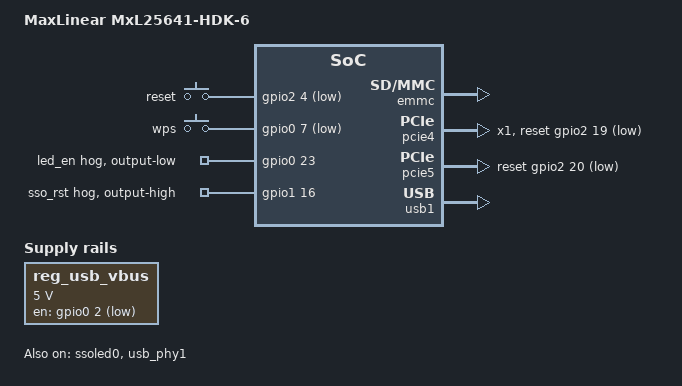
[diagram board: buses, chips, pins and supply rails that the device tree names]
// SPDX-License-Identifier: (GPL-2.0-only OR BSD-2-Clause)
/*
 * Copyright (C) 2026 Daniel Golle <daniel@makrotopia.org>
 */

/dts-v1/;

#include <dt-bindings/gpio/gpio.h>
#include <dt-bindings/input/input.h>
#include <dt-bindings/leds/common.h>

#include "urx641.dtsi"

/ {
	compatible = "mxl,mxl25641-hdk-6", "mxl,urx641", "mxl,lgm", "intel,lgm";
	model = "MaxLinear MxL25641-HDK-6";

	aliases {
		led-boot = &led_pwr_white;
		led-failsafe = &led_pwr_red;
		led-running = &led_pwr_white;
		led-upgrade = &led_pwr_white;
	};

	gpio-keys {
		compatible = "gpio-keys";

		reset {
			label = "reset";
			gpios = <&gpio2 4 GPIO_ACTIVE_LOW>;
			linux,code = <KEY_RESTART>;
			debounce-interval = <60>;
		};

		wps {
			label = "wps";
			gpios = <&gpio0 7 GPIO_ACTIVE_LOW>;
			linux,code = <KEY_WPS_BUTTON>;
			debounce-interval = <60>;
		};
	};

	reg_usb_vbus: regulator-usb-vbus {
		compatible = "regulator-fixed";
		regulator-name = "usb_vbus";
		regulator-min-microvolt = <5000000>;
		regulator-max-microvolt = <5000000>;
		gpios = <&gpio0 2 GPIO_ACTIVE_LOW>;
	};
};

&gpio0 {
	led-en-hog {
		gpio-hog;
		gpios = <23 GPIO_ACTIVE_HIGH>;
		output-low;
		line-name = "led_en";
	};
};

&gpio1 {
	sso-rst-hog {
		gpio-hog;
		gpios = <16 GPIO_ACTIVE_HIGH>;
		output-high;
		line-name = "sso_rst";
	};
};

&pinctrl {
	pinctrl_ledc: ledc-pins {
		pins = <4>, <5>, <6>;
		function = "ledc";
		pinmux = <1>, <1>, <1>;
		groups = "ledc";
	};
};

&ssoled0 {
	pinctrl-names = "default";
	pinctrl-0 = <&pinctrl_ledc>;
	status = "okay";

	led-controller {
		#address-cells = <1>;
		#size-cells = <0>;

		led@8 {
			reg = <8>;
			function = "voip";
			color = <LED_COLOR_ID_BLUE>;
			led-gpios = <&ssoled0 8 GPIO_ACTIVE_LOW>;
			default-state = "off";
		};

		led@9 {
			reg = <9>;
			function = LED_FUNCTION_WLAN;
			color = <LED_COLOR_ID_BLUE>;
			led-gpios = <&ssoled0 9 GPIO_ACTIVE_LOW>;
			linux,default-trigger = "phy0tpt";
			default-state = "off";
		};

		led_pwr_white: led@10 {
			reg = <10>;
			function = LED_FUNCTION_POWER;
			color = <LED_COLOR_ID_WHITE>;
			led-gpios = <&ssoled0 10 GPIO_ACTIVE_LOW>;
			default-state = "on";
		};

		led_pwr_red: led@11 {
			reg = <11>;
			function = LED_FUNCTION_POWER;
			color = <LED_COLOR_ID_RED>;
			led-gpios = <&ssoled0 11 GPIO_ACTIVE_LOW>;
			default-state = "off";
		};

		led@13 {
			reg = <13>;
			function = LED_FUNCTION_LAN;
			color = <LED_COLOR_ID_BLUE>;
			led-gpios = <&ssoled0 13 GPIO_ACTIVE_LOW>;
			default-state = "off";
		};

		led@14 {
			reg = <14>;
			function = "fwa";
			color = <LED_COLOR_ID_BLUE>;
			led-gpios = <&ssoled0 14 GPIO_ACTIVE_LOW>;
			default-state = "off";
		};

		led@15 {
			reg = <15>;
			function = "pon";
			color = <LED_COLOR_ID_BLUE>;
			led-gpios = <&ssoled0 15 GPIO_ACTIVE_LOW>;
			default-state = "off";
		};
	};
};

&emmc {
	status = "okay";
};

&pcie4 {
	reset-gpios = <&gpio2 19 GPIO_ACTIVE_LOW>;
	num-lanes = <1>;
};

&pcie5 {
	reset-gpios = <&gpio2 20 GPIO_ACTIVE_LOW>;
};

&usb_phy1 {
	vbus-supply = <&reg_usb_vbus>;
	status = "okay";
};

&usb1 {
	status = "okay";
};
